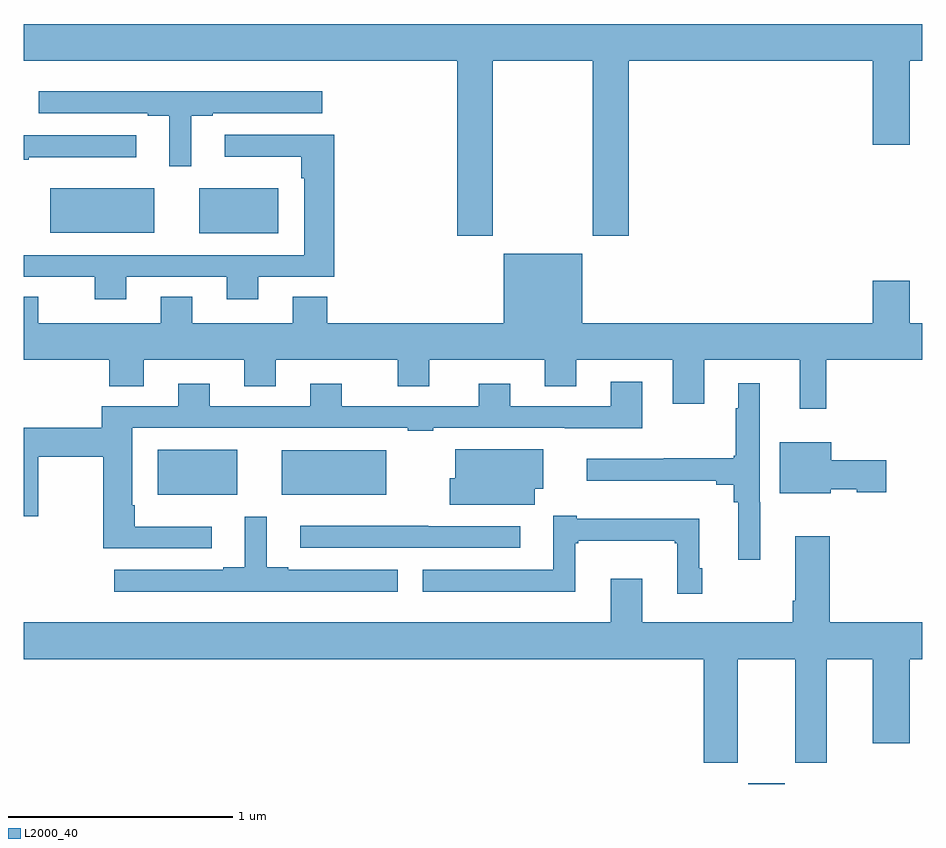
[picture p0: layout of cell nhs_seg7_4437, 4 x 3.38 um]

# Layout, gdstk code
import gdstk
lib = gdstk.Library(unit=1e-6, precision=1e-09)
def R(c, l, rs):  # rectangles x0, y0, x1, y1
    for r in rs: c.add(gdstk.rectangle(r[:2], r[2:], *l))
def P(c, l, *ps):  # polygons
    for p in ps: c.add(gdstk.Polygon(p, *l))
L2000_40 = (2000, 40)

nhs_seg7_4437 = lib.new_cell('nhs_seg7_4437')
R(nhs_seg7_4437, L2000_40, [(392.225,1060,392.389,1060.003), (389.597,1061.288,389.95,1061.488), (390.149,1061.288,390.613,1061.485), (389.78,1062.452,390.133,1062.652), (389.117,1062.455,389.581,1062.652)])
P(nhs_seg7_4437, L2000_40, [(391.089,1063.22),(391.534,1063.22),(391.534,1062.441),(391.694,1062.441),(391.694,1063.22),(392.78,1063.22),(392.78,1062.846),(392.944,1062.846),(392.944,1063.22),(393,1063.22),(393,1063.384),(389,1063.384),(389,1063.22),(390.929,1063.22),(390.929,1062.441),(391.089,1062.441)],
  [(389.746,1062.975),(389.842,1062.975),(389.842,1062.987),(390.328,1062.987),(390.328,1063.084),(389.067,1063.084),(389.067,1062.987),(389.552,1062.987),(389.552,1062.975),(389.648,1062.975),(389.648,1062.75),(389.746,1062.75)],
  [(389.455,1062.258),(389.903,1062.258),(389.903,1062.158),(390.043,1062.158),(390.043,1062.258),(390.383,1062.258),(390.383,1062.891),(389.895,1062.891),(389.895,1062.794),(390.236,1062.794),(390.236,1062.698),(390.248,1062.698),(390.248,1062.354),(389,1062.354),(389,1062.258),(389.315,1062.258),(389.315,1062.158),(389.455,1062.158)],
  [(389.021,1062.791),(389.5,1062.791),(389.5,1062.888),(389,1062.888),(389,1062.78),(389.021,1062.78)],
  [(392.573,1061.888),(393,1061.888),(393,1062.052),(392.944,1062.052),(392.944,1062.241),(392.78,1062.241),(392.78,1062.052),(391.486,1062.052),(391.486,1062.361),(391.136,1062.361),(391.136,1062.052),(390.35,1062.052),(390.35,1062.169),(390.197,1062.169),(390.197,1062.052),(389.749,1062.052),(389.749,1062.169),(389.609,1062.169),(389.609,1062.052),(389.065,1062.052),(389.065,1062.169),(389,1062.169),(389,1061.888),(389.381,1061.888),(389.381,1061.771),(389.533,1061.771),(389.533,1061.888),(389.981,1061.888),(389.981,1061.771),(390.121,1061.771),(390.121,1061.888),(390.665,1061.888),(390.665,1061.771),(390.805,1061.771),(390.805,1061.888),(391.319,1061.888),(391.319,1061.771),(391.459,1061.771),(391.459,1061.888),(391.889,1061.888),(391.889,1061.694),(392.029,1061.694),(392.029,1061.888),(392.456,1061.888),(392.456,1061.67),(392.573,1061.67)],
  [(389.836,1061.146),(389.495,1061.146),(389.495,1061.242),(389.482,1061.242),(389.482,1061.586),(390.709,1061.586),(390.709,1061.574),(390.824,1061.574),(390.824,1061.586),(391.408,1061.586),(391.408,1061.585),(391.753,1061.585),(391.753,1061.791),(391.613,1061.791),(391.613,1061.682),(391.165,1061.682),(391.165,1061.782),(391.025,1061.782),(391.025,1061.682),(390.415,1061.682),(390.415,1061.782),(390.275,1061.782),(390.275,1061.682),(389.827,1061.682),(389.827,1061.782),(389.687,1061.782),(389.687,1061.682),(389.348,1061.682),(389.348,1061.587),(389,1061.587),(389,1061.193),(389.064,1061.193),(389.064,1061.458),(389.353,1061.458),(389.353,1061.049),(389.836,1061.049)],
  [(392.278,1061.255),(392.277,1061.255),(392.277,1061.785),(392.18,1061.785),(392.18,1061.672),(392.169,1061.672),(392.169,1061.461),(392.161,1061.461),(392.161,1061.451),(391.849,1061.451),(391.849,1061.449),(391.506,1061.449),(391.506,1061.351),(392.084,1061.351),(392.084,1061.332),(392.161,1061.332),(392.161,1061.255),(392.18,1061.255),(392.18,1060.998),(392.278,1060.998)],
  [(392.592,1061.312),(392.709,1061.312),(392.709,1061.3),(392.839,1061.3),(392.839,1061.442),(392.596,1061.442),(392.596,1061.521),(392.366,1061.521),(392.366,1061.294),(392.592,1061.294)],
  [(391.276,1061.315),(391.312,1061.315),(391.312,1061.491),(390.92,1061.491),(390.92,1061.361),(390.896,1061.361),(390.896,1061.243),(391.276,1061.243)],
  [(392.02,1060.96),(392.008,1060.96),(392.008,1061.182),(391.462,1061.182),(391.462,1061.194),(391.358,1061.194),(391.358,1060.953),(390.777,1060.953),(390.777,1060.856),(391.456,1060.856),(391.456,1061.073),(391.468,1061.073),(391.468,1061.084),(391.899,1061.084),(391.899,1061.073),(391.91,1061.073),(391.91,1060.848),(392.02,1060.848)],
  [(390.664,1060.953),(390.178,1060.953),(390.178,1060.966),(390.082,1060.966),(390.082,1061.191),(389.984,1061.191),(389.984,1060.966),(389.888,1060.966),(389.888,1060.953),(389.403,1060.953),(389.403,1060.856),(390.664,1060.856)],
  [(391.21,1061.148),(390.8,1061.148),(390.8,1061.149),(390.231,1061.149),(390.231,1061.052),(391.21,1061.052)],
  [(392.179,1060.556),(392.435,1060.556),(392.435,1060.095),(392.575,1060.095),(392.575,1060.556),(392.78,1060.556),(392.78,1060.182),(392.944,1060.182),(392.944,1060.556),(393,1060.556),(393,1060.72),(392.588,1060.72),(392.588,1061.104),(392.435,1061.104),(392.435,1060.816),(392.423,1060.816),(392.423,1060.72),(391.753,1060.72),(391.753,1060.915),(391.613,1060.915),(391.613,1060.72),(389,1060.72),(389,1060.556),(392.027,1060.556),(392.027,1060.095),(392.179,1060.095)])

lib.write_gds('nhs_seg7_4437.gds')
